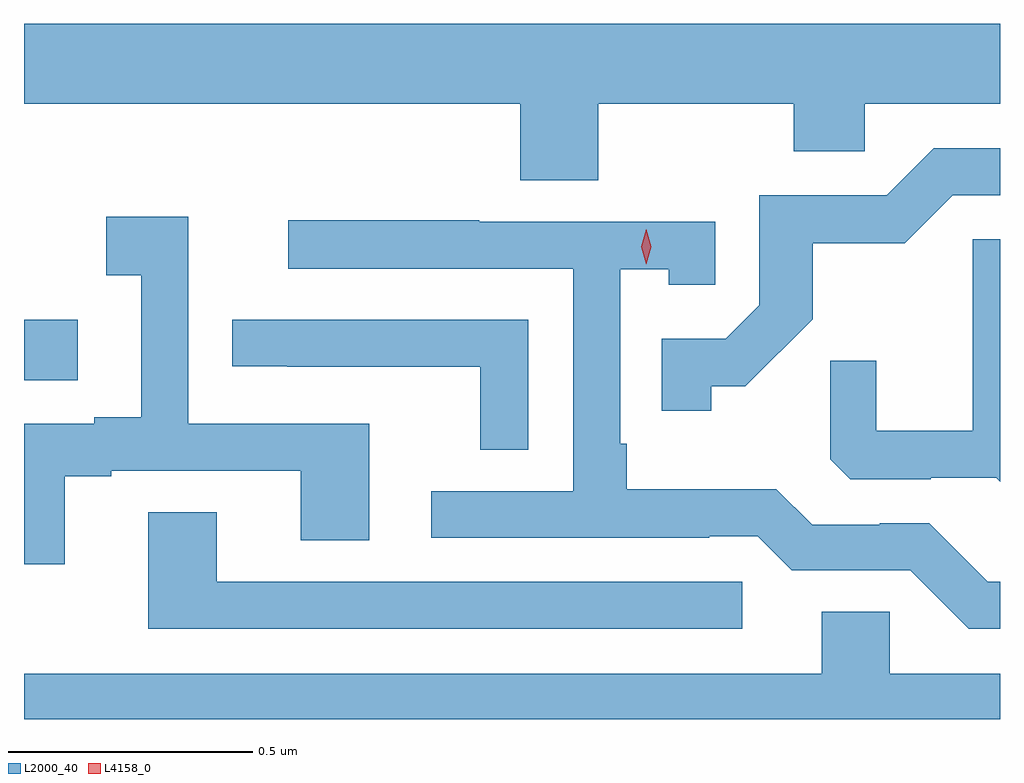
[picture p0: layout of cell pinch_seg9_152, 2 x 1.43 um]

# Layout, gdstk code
import gdstk
lib = gdstk.Library(unit=1e-6, precision=1e-09)
def R(c, l, rs):  # rectangles x0, y0, x1, y1
    for r in rs: c.add(gdstk.rectangle(r[:2], r[2:], *l))
def P(c, l, *ps):  # polygons
    for p in ps: c.add(gdstk.Polygon(p, *l))
L2000_40 = (2000, 40)
L4158_0 = (4158, 0)

pinch_seg9_152 = lib.new_cell('pinch_seg9_152')
R(pinch_seg9_152, L2000_40, [(676.604,1239.809,676.714,1239.933)])
P(pinch_seg9_152, L2000_40, [(677.781,1240.376),(678.181,1240.376),(678.181,1240.278),(678.327,1240.278),(678.327,1240.376),(678.604,1240.376),(678.604,1240.54),(676.604,1240.54),(676.604,1240.376),(677.621,1240.376),(677.621,1240.219),(677.781,1240.219)],
  [(678.012,1239.797),(678.082,1239.797),(678.22,1239.934),(678.22,1240.09),(678.409,1240.09),(678.507,1240.188),(678.604,1240.188),(678.604,1240.284),(678.468,1240.284),(678.372,1240.188),(678.111,1240.188),(678.111,1239.963),(678.042,1239.894),(677.911,1239.894),(677.911,1239.747),(678.012,1239.747)],
  [(676.687,1239.612),(676.783,1239.612),(676.783,1239.624),(677.171,1239.624),(677.171,1239.481),(677.311,1239.481),(677.311,1239.72),(676.941,1239.72),(676.941,1240.144),(676.773,1240.144),(676.773,1240.024),(676.844,1240.024),(676.844,1239.733),(676.748,1239.733),(676.748,1239.72),(676.604,1239.72),(676.604,1239.432),(676.687,1239.432)],
  [(678.604,1239.396),(678.579,1239.396),(678.459,1239.516),(678.358,1239.516),(678.358,1239.513),(678.219,1239.513),(678.146,1239.586),(677.839,1239.586),(677.839,1239.679),(677.826,1239.679),(677.826,1240.037),(677.925,1240.037),(677.925,1240.005),(678.021,1240.005),(678.021,1240.134),(677.537,1240.134),(677.537,1240.137),(677.145,1240.137),(677.145,1240.038),(677.73,1240.038),(677.73,1239.582),(677.439,1239.582),(677.439,1239.486),(678.008,1239.486),(678.008,1239.489),(678.108,1239.489),(678.177,1239.42),(678.42,1239.42),(678.54,1239.3),(678.604,1239.3)],
  [(678.604,1240.098),(678.548,1240.098),(678.548,1239.706),(678.35,1239.706),(678.35,1239.849),(678.256,1239.849),(678.256,1239.647),(678.297,1239.606),(678.462,1239.606),(678.462,1239.609),(678.596,1239.609),(678.604,1239.601)],
  [(677.637,1239.933),(677.031,1239.933),(677.031,1239.838),(677.143,1239.838),(677.143,1239.837),(677.539,1239.837),(677.539,1239.667),(677.637,1239.667)],
  [(678.076,1239.396),(676.999,1239.396),(676.999,1239.539),(676.859,1239.539),(676.859,1239.3),(678.076,1239.3)],
  [(678.604,1239.208),(678.378,1239.208),(678.378,1239.335),(678.239,1239.335),(678.239,1239.208),(676.604,1239.208),(676.604,1239.114),(678.604,1239.114)])
P(pinch_seg9_152, L4158_0, [(677.879,1240.047),(677.879,1240.047),(677.869,1240.083),(677.879,1240.119),(677.879,1240.119),(677.879,1240.119),(677.889,1240.083),(677.879,1240.047)])

lib.write_gds('pinch_seg9_152.gds')
